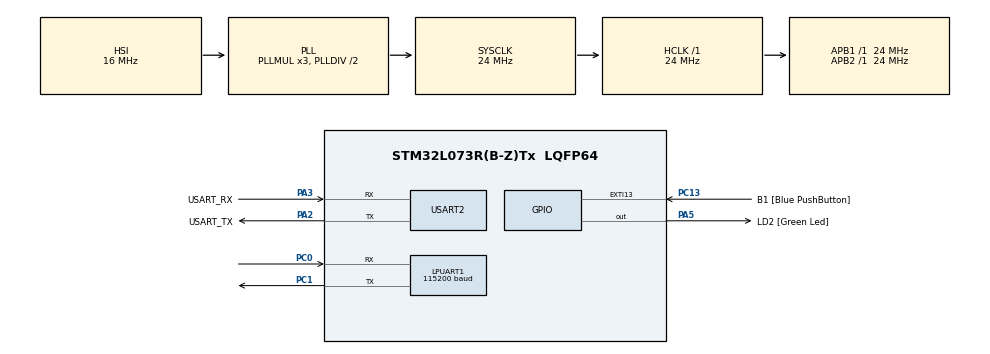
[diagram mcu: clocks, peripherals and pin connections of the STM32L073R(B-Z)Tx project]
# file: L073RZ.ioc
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Dma.LPUART1_RX.2.Direction=DMA_PERIPH_TO_MEMORY
Dma.LPUART1_RX.2.Instance=DMA1_Channel3
Dma.LPUART1_RX.2.MemDataAlignment=DMA_MDATAALIGN_BYTE
Dma.LPUART1_RX.2.MemInc=DMA_MINC_ENABLE
Dma.LPUART1_RX.2.Mode=DMA_NORMAL
Dma.LPUART1_RX.2.PeriphDataAlignment=DMA_PDATAALIGN_BYTE
Dma.LPUART1_RX.2.PeriphInc=DMA_PINC_DISABLE
Dma.LPUART1_RX.2.Priority=DMA_PRIORITY_LOW
Dma.LPUART1_TX.3.Direction=DMA_MEMORY_TO_PERIPH
Dma.LPUART1_TX.3.Instance=DMA1_Channel2
Dma.LPUART1_TX.3.MemDataAlignment=DMA_MDATAALIGN_BYTE
Dma.LPUART1_TX.3.MemInc=DMA_MINC_ENABLE
Dma.LPUART1_TX.3.Mode=DMA_NORMAL
Dma.LPUART1_TX.3.PeriphDataAlignment=DMA_PDATAALIGN_BYTE
Dma.LPUART1_TX.3.PeriphInc=DMA_PINC_DISABLE
Dma.LPUART1_TX.3.Priority=DMA_PRIORITY_LOW
Dma.Request0=USART2_RX
Dma.Request1=USART2_TX
Dma.Request2=LPUART1_RX
Dma.Request3=LPUART1_TX
Dma.USART2_RX.0.Direction=DMA_PERIPH_TO_MEMORY
Dma.USART2_RX.0.Instance=DMA1_Channel5
Dma.USART2_RX.0.MemDataAlignment=DMA_MDATAALIGN_BYTE
Dma.USART2_RX.0.MemInc=DMA_MINC_ENABLE
Dma.USART2_RX.0.Mode=DMA_NORMAL
Dma.USART2_RX.0.PeriphDataAlignment=DMA_PDATAALIGN_BYTE
Dma.USART2_RX.0.PeriphInc=DMA_PINC_DISABLE
Dma.USART2_RX.0.Priority=DMA_PRIORITY_LOW
Dma.USART2_TX.1.Direction=DMA_MEMORY_TO_PERIPH
Dma.USART2_TX.1.Instance=DMA1_Channel4
Dma.USART2_TX.1.MemDataAlignment=DMA_MDATAALIGN_BYTE
Dma.USART2_TX.1.MemInc=DMA_MINC_ENABLE
Dma.USART2_TX.1.Mode=DMA_NORMAL
Dma.USART2_TX.1.PeriphDataAlignment=DMA_PDATAALIGN_BYTE
Dma.USART2_TX.1.PeriphInc=DMA_PINC_DISABLE
Dma.USART2_TX.1.Priority=DMA_PRIORITY_LOW
LPUART1.BaudRate=115200
LPUART1.WordLength=UART_WORDLENGTH_8B
Mcu.Family=STM32L0
Mcu.Name=STM32L073R(B-Z)Tx
Mcu.Package=LQFP64
NVIC.DMA1_Channel2_3_IRQn=true\:0\:0\:false\:false\:true\:false\:true
NVIC.DMA1_Channel4_5_6_7_IRQn=true\:0\:0\:false\:false\:true\:false\:true
NVIC.EXTI4_15_IRQn=true\:0\:0\:false\:false\:true\:true\:true
NVIC.RNG_LPUART1_IRQn=true\:0\:0\:false\:false\:true\:true\:true
NVIC.RTC_IRQn=true\:0\:0\:false\:false\:true\:true\:true
NVIC.TIM2_IRQn=true\:0\:0\:false\:false\:true\:true\:true
NVIC.TIM3_IRQn=true\:0\:0\:false\:false\:true\:true\:true
NVIC.TIM6_DAC_IRQn=true\:0\:0\:false\:false\:true\:true\:true
NVIC.USART2_IRQn=true\:0\:0\:false\:false\:true\:true\:true
PA13.GPIO_Label=TMS
PA13.Mode=Serial_Wire
PA13.Signal=SYS_SWDIO
PA14.GPIO_Label=TCK
PA14.Mode=Serial_Wire
PA14.Signal=SYS_SWCLK
PA2.GPIO_Label=USART_TX
PA2.Mode=Asynchronous
PA2.Signal=USART2_TX
PA3.GPIO_Label=USART_RX
PA3.Mode=Asynchronous
PA3.Signal=USART2_RX
PA5.GPIO_Label=LD2 [Green Led]
PA5.Signal=GPIO_Output
PC0.Mode=Asynchronous
PC0.Signal=LPUART1_RX
PC1.Mode=Asynchronous
PC1.Signal=LPUART1_TX
PC13.GPIO_Label=B1 [Blue PushButton]
PC13.GPIO_ModeDefaultEXTI=GPIO_MODE_IT_FALLING
PC13.Signal=GPXTI13
PC14-OSC32_IN.Mode=LSE-External-Oscillator
PC14-OSC32_IN.Signal=RCC_OSC32_IN
PC15-OSC32_OUT.Mode=LSE-External-Oscillator
PC15-OSC32_OUT.Signal=RCC_OSC32_OUT
PH0-OSC_IN.GPIO_Label=MCO
PH0-OSC_IN.Mode=HSE-External-Clock-Source
PH0-OSC_IN.Signal=RCC_OSC_IN
ProjectManager.HeapSize=0x200
ProjectManager.StackSize=0x400
ProjectManager.TargetToolchain=MDK-ARM V5.27
RCC.AHBFreq_Value=24000000
RCC.APB1Freq_Value=24000000
RCC.APB1TimFreq_Value=24000000
RCC.APB2Freq_Value=24000000
RCC.APB2TimFreq_Value=24000000
RCC.HCLKFreq_Value=24000000
RCC.HSE_VALUE=8000000
RCC.HSI16_VALUE=16000000
RCC.HSI48_VALUE=48000000
RCC.HSI_VALUE=16000000
RCC.MSI_VALUE=2097000
RCC.RTCClockSelection=RCC_RTCCLKSOURCE_LSE
RCC.SYSCLKFreq_VALUE=24000000
RCC.SYSCLKSource=RCC_SYSCLKSOURCE_PLLCLK
RCC.Usart2ClockSelection=RCC_USART2CLKSOURCE_HSI
RCC.VCOOutputFreq_Value=48000000
RTC.WakeUpClock-WakeUp=RTC_WAKEUPCLOCK_RTCCLK_DIV16
RTC.WakeUpCounter-WakeUp=2047
TIM2.Period=2999
TIM2.Prescaler=2399
TIM3.Period=49
TIM3.Prescaler=2399
TIM6.AutoReloadPreload=TIM_AUTORELOAD_PRELOAD_ENABLE
TIM6.Period=9999
TIM6.Prescaler=2399
USART2.VirtualMode-Asynchronous=VM_ASYNC
VP_RTC_VS_RTC_Activate.Mode=RTC_Enabled
VP_RTC_VS_RTC_Calendar.Mode=RTC_Calendar
VP_RTC_VS_RTC_WakeUp_intern.Mode=WakeUp
VP_TIM2_VS_ClockSourceINT.Mode=Internal
VP_TIM3_VS_ClockSourceINT.Mode=Internal
VP_TIM6_VS_ClockSourceINT.Mode=Enable_Timer
board=NUCLEO-L073RZ

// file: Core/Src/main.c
/* USER CODE BEGIN Header */
/**
  ******************************************************************************
  * @file           : main.c
  * @brief          : Main program body
  ******************************************************************************
  * @attention
  *
  * <h2><center>&copy; Copyright (c) 2023 STMicroelectronics.
  * All rights reserved.</center></h2>
  *
  * This software component is licensed by ST under BSD 3-Clause license,
  * the "License"; You may not use this file except in compliance with the
  * License. You may obtain a copy of the License at:
  *                        opensource.org/licenses/BSD-3-Clause
  *
  ******************************************************************************
  */
/* USER CODE END Header */
#include "main.h"
#include "dma.h"
#include "usart.h"
#include "rtc.h"
#include "tim.h"
#include "gpio.h"

/* USER CODE BEGIN Includes */
#include "ec20.h"
#include "server.h"

/* USER CODE END Includes */

/* USER CODE BEGIN PD */
#define MAX_LEN 100  //单个数据包的最大长度
#define REC_LENGTH 1 //接收数据单位长度
#define LED GPIO_PinState

/* USER CODE END PD */

/* USER CODE BEGIN PV */
volatile uint8_t SYNC[2]={0x5A,0xA5};
volatile uint8_t Packet_Length[2];
volatile uint8_t CMD_ID[17];
volatile uint8_t Frame_Type;
volatile uint8_t Packet_Type;
volatile uint8_t Frame_No;
volatile uint8_t Channel_No;
volatile uint8_t Presetting_No;
volatile uint8_t Time_Stamp[4];
volatile uint8_t CRC16[2];
volatile uint8_t END;
/* USER CODE END PV */

void SystemClock_Config(void);
/* USER CODE BEGIN PFP */
uint8_t Button_flg=0;
void HAL_GPIO_EXTI_Callback(uint16_t GPIO_Pin)
{
	if( GPIO_Pin == B1_Pin )//判断外部中断源
	{ /* Prevent unused argument(s) compilation warning */
		Button_flg=1;
   HAL_GPIO_TogglePin(LD2_GPIO_Port, LD2_Pin); //反转PA5 LED灯的状态
    /* NOTE: This function Should not be modified, when the callback is needed,
             the HAL_GPIO_EXTI_Callback could be implemented in the user file
     */}
}

/* USER CODE END PFP */

/* USER CODE BEGIN 0 */
void HAL_UART_RxCpltCallback(UART_HandleTypeDef *huart)

{
  if(huart->Instance==LPUART1)
  {
    __HAL_TIM_SET_COUNTER(&htim2,0);
    if(0 == LPUART1_Rx_cnt)//如果是第一个字符，则开启定时器
    {
    __HAL_TIM_CLEAR_FLAG(&htim2,TIM_FLAG_UPDATE);
      HAL_TIM_Base_Start_IT(&htim2);
    }
    LPUART1_Rx_Buf[LPUART1_Rx_cnt] = LPUART1_temp[0];
    LPUART1_Rx_cnt++;
    HAL_UART_Receive_IT(&hlpuart1,(uint8_t *)LPUART1_temp,REC_LENGTH);
  }
	  if(huart->Instance==USART2)
  {
    __HAL_TIM_SET_COUNTER(&htim3,0);
    if(0 == UART2_Rx_cnt)//如果是第一个字符，则开启定时器
    {
    __HAL_TIM_CLEAR_FLAG(&htim3,TIM_FLAG_UPDATE);
      HAL_TIM_Base_Start_IT(&htim3);
    }
    UART2_Rx_Buf[UART2_Rx_cnt] = UART2_temp[0];
    UART2_Rx_cnt++;
    HAL_UART_Receive_IT(&huart2,(uint8_t *)UART2_temp,REC_LENGTH);
  }
}

void HAL_TIM_PeriodElapsedCallback(TIM_HandleTypeDef *htim)
{
  if(htim==(&htim2))
  {
		HAL_GPIO_WritePin(LD2_GPIO_Port, LD2_Pin,0U);
    LPUART1_Rx_flg = 1;
    HAL_TIM_Base_Stop_IT(&htim2);//关闭定时器
  }
	  if(htim==(&htim3))
  {
		HAL_GPIO_WritePin(LD2_GPIO_Port, LD2_Pin,0U);
    UART2_Rx_flg = 1;
    HAL_TIM_Base_Stop_IT(&htim3);//关闭定时器
  }
	if(htim==(&htim6))
	{
		   HAL_GPIO_TogglePin(LD2_GPIO_Port, LD2_Pin); //反转PA5 LED灯的状态
	}
}

/*周期唤醒回调函数*/
void HAL_RTCEx_WakeUpTimerEventCallback(RTC_HandleTypeDef *hrtc)
{
    RTC_TimeTypeDef sTime;
    RTC_DateTypeDef sDate;
    if(HAL_RTC_GetTime(hrtc, &sTime, RTC_FORMAT_BIN) == HAL_OK)
    {
        HAL_RTC_GetDate(hrtc, &sDate,  RTC_FORMAT_BIN);
//        char str[22];
//        sprintf(str,"RTC Time= %2d:%2d:%2d\r\n",sTime.Hours,sTime.Minutes,sTime.Seconds);
//        printf("%s", str);
			Sendover_Callback();
    }
    HAL_GPIO_TogglePin(LD2_GPIO_Port, LD2_Pin); //反转PA5 LED灯的状态
}

/* USER CODE END 0 */

int main(void)
{

  /* MCU Configuration--------------------------------------------------------*/

  /* Reset of all peripherals, Initializes the Flash interface and the Systick. */
  HAL_Init();

  /* Configure the system clock */
  SystemClock_Config();

  /* Initialize all configured peripherals */
  MX_GPIO_Init();
  MX_DMA_Init();
  MX_USART2_UART_Init();
  MX_LPUART1_UART_Init();
  MX_TIM2_Init();
  MX_TIM3_Init();
  MX_TIM6_Init();
  MX_RTC_Init();
  /* USER CODE BEGIN 2 */
  HAL_UART_Receive_IT(&hlpuart1,(uint8_t *)LPUART1_temp,REC_LENGTH);
	HAL_UART_Receive_IT(&huart2,(uint8_t *)UART2_temp,REC_LENGTH);
	HAL_RTCEx_BKUPWrite(&hrtc,RTC_BKP_DR0, 0);
	Write_RTCTime();
//	EC200A_ReStart();
//	HAL_TIM_Base_Start_IT(&htim6);
  /* USER CODE END 2 */

  /* Infinite loop */
  while (1)
  {

    /* USER CODE BEGIN 3 */
		//main() while(1)
    if(LPUART1_Rx_flg)
    {
      HAL_UART_Transmit(&huart2,LPUART1_Rx_Buf,LPUART1_Rx_cnt,0xffff);    //发送接收到的数据
      for(int i = 0;i<LPUART1_Rx_cnt;i++)
        LPUART1_Rx_Buf[i] = 0;
      LPUART1_Rx_cnt = 0;
      LPUART1_Rx_flg = 0;
    }
		    if(UART2_Rx_flg)
    {
      HAL_UART_Transmit(&hlpuart1,UART2_Rx_Buf,UART2_Rx_cnt,0xffff);    //发送接收到的数据
      for(int i = 0;i<UART2_Rx_cnt;i++)
        UART2_Rx_Buf[i] = 0;
      UART2_Rx_cnt = 0;
      UART2_Rx_flg = 0U;
    }

		if(Button_flg)
		{
			EC200A_Init();
			Button_flg=0;
		}
		HAL_Delay(500);

//		HAL_GPIO_TogglePin(LD2_GPIO_Port, GPIO_PIN_5);
//		HAL_Delay(500);
  }
  /* USER CODE END 3 */
}

void SystemClock_Config(void)
{
  RCC_OscInitTypeDef RCC_OscInitStruct = {0};
  RCC_ClkInitTypeDef RCC_ClkInitStruct = {0};
  RCC_PeriphCLKInitTypeDef PeriphClkInit = {0};

  /** Configure the main internal regulator output voltage
  */
  __HAL_PWR_VOLTAGESCALING_CONFIG(PWR_REGULATOR_VOLTAGE_SCALE1);
  /** Configure LSE Drive Capability
  */
  HAL_PWR_EnableBkUpAccess();
  __HAL_RCC_LSEDRIVE_CONFIG(RCC_LSEDRIVE_LOW);
  /** Initializes the RCC Oscillators according to the specified parameters
  * in the RCC_OscInitTypeDef structure.
  */
  RCC_OscInitStruct.OscillatorType = RCC_OSCILLATORTYPE_HSI|RCC_OSCILLATORTYPE_LSE;
  RCC_OscInitStruct.LSEState = RCC_LSE_ON;
  RCC_OscInitStruct.HSIState = RCC_HSI_ON;
  RCC_OscInitStruct.HSICalibrationValue = RCC_HSICALIBRATION_DEFAULT;
  RCC_OscInitStruct.PLL.PLLState = RCC_PLL_ON;
  RCC_OscInitStruct.PLL.PLLSource = RCC_PLLSOURCE_HSI;
  RCC_OscInitStruct.PLL.PLLMUL = RCC_PLLMUL_3;
  RCC_OscInitStruct.PLL.PLLDIV = RCC_PLLDIV_2;
  if (HAL_RCC_OscConfig(&RCC_OscInitStruct) != HAL_OK)
  {
    Error_Handler();
  }
  /** Initializes the CPU, AHB and APB buses clocks
  */
  RCC_ClkInitStruct.ClockType = RCC_CLOCKTYPE_HCLK|RCC_CLOCKTYPE_SYSCLK
                              |RCC_CLOCKTYPE_PCLK1|RCC_CLOCKTYPE_PCLK2;
  RCC_ClkInitStruct.SYSCLKSource = RCC_SYSCLKSOURCE_PLLCLK;
  RCC_ClkInitStruct.AHBCLKDivider = RCC_SYSCLK_DIV1;
  RCC_ClkInitStruct.APB1CLKDivider = RCC_HCLK_DIV1;
  RCC_ClkInitStruct.APB2CLKDivider = RCC_HCLK_DIV1;

  if (HAL_RCC_ClockConfig(&RCC_ClkInitStruct, FLASH_LATENCY_1) != HAL_OK)
  {
    Error_Handler();
  }
  PeriphClkInit.PeriphClockSelection = RCC_PERIPHCLK_USART2|RCC_PERIPHCLK_LPUART1
                              |RCC_PERIPHCLK_RTC;
  PeriphClkInit.Usart2ClockSelection = RCC_USART2CLKSOURCE_HSI;
  PeriphClkInit.Lpuart1ClockSelection = RCC_LPUART1CLKSOURCE_PCLK1;
  PeriphClkInit.RTCClockSelection = RCC_RTCCLKSOURCE_LSE;
  if (HAL_RCCEx_PeriphCLKConfig(&PeriphClkInit) != HAL_OK)
  {
    Error_Handler();
  }
}

void Error_Handler(void)
{
  __disable_irq();
  while (1)
  {
  }
}

/************************ (C) COPYRIGHT STMicroelectronics *****END OF FILE****/
